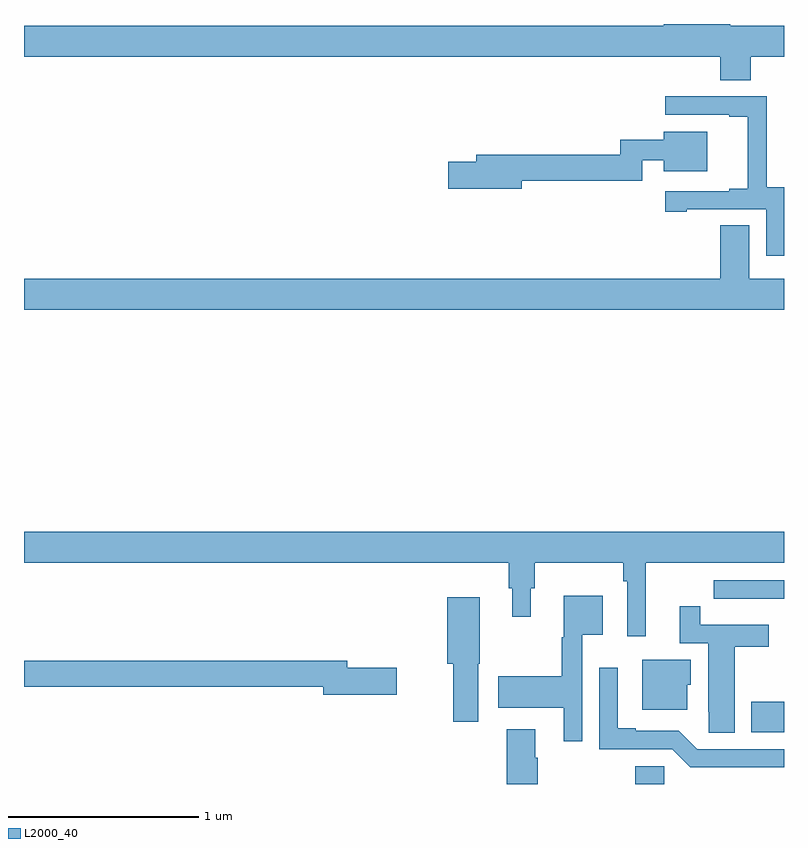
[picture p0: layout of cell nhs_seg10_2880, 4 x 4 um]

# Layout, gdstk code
import gdstk
lib = gdstk.Library(unit=1e-6, precision=1e-09)
def R(c, l, rs):  # rectangles x0, y0, x1, y1
    for r in rs: c.add(gdstk.rectangle(r[:2], r[2:], *l))
def P(c, l, *ps):  # polygons
    for p in ps: c.add(gdstk.Polygon(p, *l))
L2000_40 = (2000, 40)

nhs_seg10_2880 = lib.new_cell('nhs_seg10_2880')
R(nhs_seg10_2880, L2000_40, [(270.218,1284.5,270.369,1284.594), (270.827,1284.773,271,1284.933)])
P(nhs_seg10_2880, L2000_40, [(270.825,1288.328),(271,1288.328),(271,1288.492),(270.718,1288.492),(270.718,1288.5),(270.368,1288.5),(270.368,1288.492),(267,1288.492),(267,1288.328),(270.665,1288.328),(270.665,1288.204),(270.825,1288.204)],
  [(271,1287.641),(270.909,1287.641),(270.909,1288.119),(270.375,1288.119),(270.375,1288.023),(270.713,1288.023),(270.713,1288.011),(270.809,1288.011),(270.809,1287.634),(270.713,1287.634),(270.713,1287.621),(270.375,1287.621),(270.375,1287.513),(270.487,1287.513),(270.487,1287.525),(270.906,1287.525),(270.906,1287.279),(271,1287.279)],
  [(269.62,1287.676),(270.255,1287.676),(270.255,1287.782),(270.368,1287.782),(270.368,1287.725),(270.595,1287.725),(270.595,1287.934),(270.368,1287.934),(270.368,1287.892),(270.139,1287.892),(270.139,1287.812),(269.381,1287.812),(269.381,1287.776),(269.232,1287.776),(269.232,1287.634),(269.62,1287.634)],
  [(271,1287.16),(270.817,1287.16),(270.817,1287.44),(270.665,1287.44),(270.665,1287.16),(267,1287.16),(267,1286.996),(271,1286.996)],
  [(270.272,1285.664),(271,1285.664),(271,1285.828),(267,1285.828),(267,1285.664),(269.551,1285.664),(269.551,1285.53),(269.57,1285.53),(269.57,1285.38),(269.668,1285.38),(269.668,1285.53),(269.687,1285.53),(269.687,1285.664),(270.154,1285.664),(270.154,1285.568),(270.174,1285.568),(270.174,1285.278),(270.272,1285.278)],
  [(270.908,1285.476),(271,1285.476),(271,1285.572),(270.63,1285.572),(270.63,1285.476),(270.742,1285.476),(270.742,1285.475),(270.908,1285.475)],
  [(269.937,1285.286),(270.046,1285.286),(270.046,1285.492),(269.84,1285.492),(269.84,1285.272),(269.829,1285.272),(269.829,1285.068),(269.496,1285.068),(269.496,1284.902),(269.84,1284.902),(269.84,1284.726),(269.937,1284.726)],
  [(269.392,1285.134),(269.398,1285.134),(269.398,1285.483),(269.228,1285.483),(269.228,1285.134),(269.258,1285.134),(269.258,1284.828),(269.392,1284.828)],
  [(270.742,1285.222),(270.919,1285.222),(270.919,1285.338),(270.56,1285.338),(270.56,1285.435),(270.452,1285.435),(270.452,1285.242),(270.602,1285.242),(270.602,1284.88),(270.603,1284.88),(270.603,1284.769),(270.742,1284.769)],
  [(270.49,1285.023),(270.508,1285.023),(270.508,1285.153),(270.254,1285.153),(270.254,1284.89),(270.49,1284.89)],
  [(268.963,1285.112),(268.702,1285.112),(268.702,1285.148),(267,1285.148),(267,1285.012),(268.574,1285.012),(268.574,1284.97),(268.963,1284.97)],
  [(271,1284.684),(270.543,1284.684),(270.447,1284.78),(270.22,1284.78),(270.22,1284.793),(270.124,1284.793),(270.124,1285.111),(270.027,1285.111),(270.027,1284.684),(270.411,1284.684),(270.507,1284.588),(271,1284.588)],
  [(269.705,1284.638),(269.692,1284.638),(269.692,1284.787),(269.54,1284.787),(269.54,1284.5),(269.705,1284.5)])

lib.write_gds('nhs_seg10_2880.gds')
